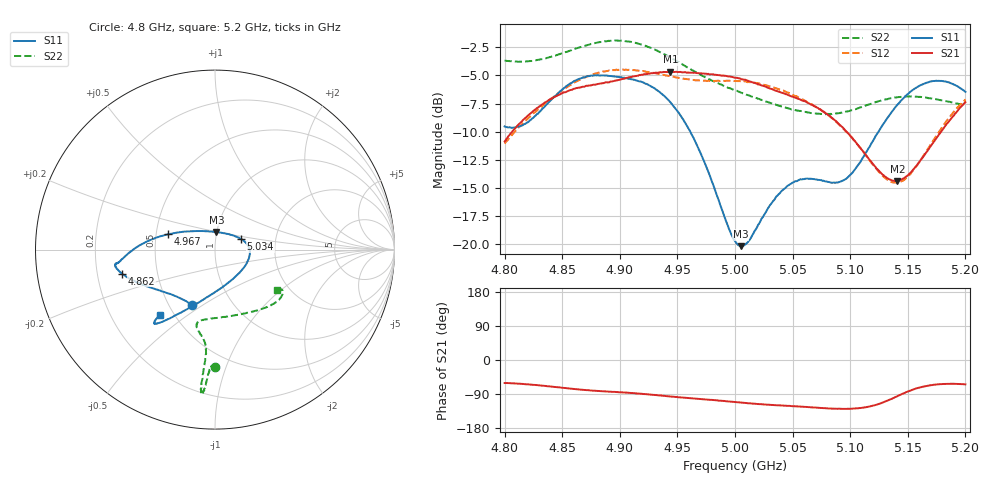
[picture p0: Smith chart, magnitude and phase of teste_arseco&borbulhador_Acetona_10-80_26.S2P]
! Network Analyzer HP8722D
! Hewlett-Packard
! Data name: Linha & Wilkinson
! Saver's name: Rodrigo Anjos
! Comments: Teste da utilização de aquisição
! continua pelo VNA HP8722D
! Time and date: 17/4/2025 14:34
!  Frequency  S11  S21  S12  S22
# HZ  S  MA R 50
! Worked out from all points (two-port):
!   401 points, 4.8 GHz to 5.2 GHz, reference 50 ohm
!   highest |S21| = -4.65 dB at 4.944 GHz (marker M1); lowest = -14.4 dB at 5.141 GHz (marker M2)
!   |S21| within 3 dB of the highest: 4.832 GHz to 5.068 GHz (236 MHz wide, 4.77 % of centre); 5.197453 GHz to end of sweep
!   lowest |S11| = -20.2 dB at 5.005 GHz (marker M3), VSWR 1.22, Z = 49.8 + j9.82 ohm
!   |S11| at or under -10 dB: 4.961 GHz to 5.125 GHz (163.4 MHz wide, 3.24 % of centre)
!   |S22| runs from -8.5 to -1.9 dB; largest |S21 - S12| = 0.88
!   S11 on the Smith chart (normalised r, x): 4.8 GHz: 0.65, -0.45; 4.862 GHz: 0.31, -0.12; 4.967 GHz: 0.58, +0.11; 5.034 GHz: 1.33, +0.16; 5.2 GHz: 0.42, -0.39
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4.8e9  0.3338 -113.1  0.2862 -60.8  0.2802 -174.9  0.6553 -90.0
4.819e9  0.3461 -133.0  0.3677 -64.1  0.3572 -173.5  0.6506 -91.5
4.862e9  0.5352 -165.5  0.4941 -76.9  0.5282 -176.7  0.7423 -93.7
4.867e9  0.548 -167.5  0.5001 -78.5  0.5428 -177.7  0.755 -93.9
4.902e9  0.5504 -172.1  0.5424 -85.6  0.597 175.1  0.8024 -95.4
4.934e9  0.4773 -178.1  0.5801 -93.6  0.5722 171.9  0.7181 -95.7
4.944e9  0.4273 177.4  0.5854 -96.2  0.5577 171.9  0.6762 -95.4
4.967e9  0.2756 162.0  0.5761 -102.2  0.5354 174.0  0.5775 -95.0
5e9  0.1034 102.6  0.5491 -111.2  0.5323 176.2  0.4829 -99.1
5.005e9  0.09793 85.4  0.5437 -112.3  0.5295 176.3  0.4719 -100.4
5.012e9  0.1035 62.4  0.5302 -114.1  0.5264 176.0  0.4587 -101.8
5.034e9  0.1571 21.8  0.485 -119.2  0.496 174.8  0.4183 -103.7
5.05e9  0.1878 5.2  0.4534 -121.9  0.4615 174.2  0.3985 -99.6
5.067e9  0.1951 -12.8  0.4159 -125.0  0.4182 173.7  0.382 -91.1
5.087e9  0.1875 -44.7  0.3543 -128.5  0.3531 173.6  0.381 -75.8
5.097e9  0.1961 -65.5  0.3153 -129.0  0.3159 174.5  0.3887 -67.5
5.134e9  0.3746 -116.0  0.1941 -105.2  0.1905 -158.0  0.4444 -43.0
5.141e9  0.4166 -120.1  0.1908 -95.2  0.1878 -146.9  0.4503 -39.9
5.153e9  0.4794 -124.9  0.2095 -79.8  0.2076 -128.7  0.4536 -35.7
5.17e9  0.5289 -128.6  0.273 -66.4  0.2781 -112.7  0.4451 -31.9
5.184e9  0.5264 -129.9  0.3437 -63.0  0.3551 -107.2  0.4318 -30.9
5.2e9  0.4756 -130.4  0.4277 -64.3  0.4401 -106.3  0.4147 -33.3
